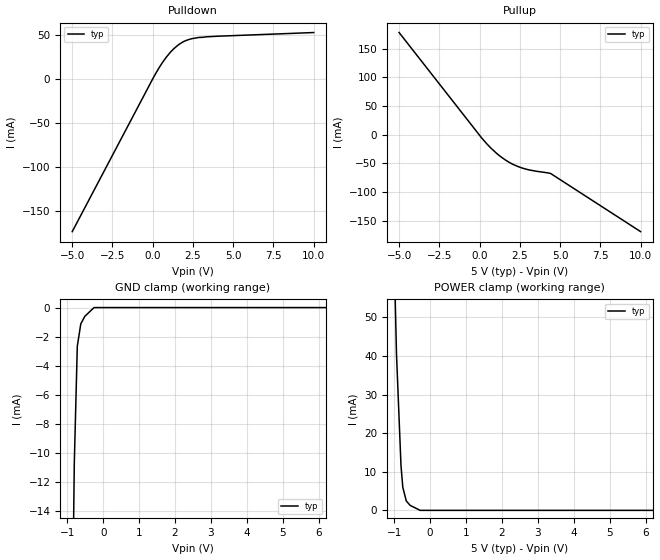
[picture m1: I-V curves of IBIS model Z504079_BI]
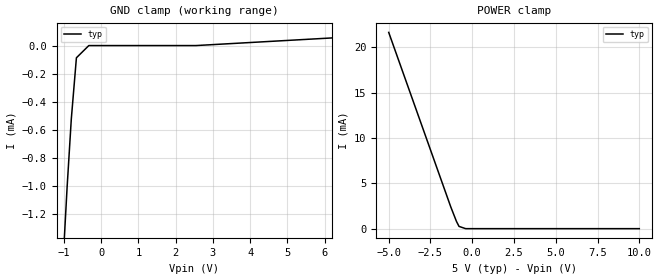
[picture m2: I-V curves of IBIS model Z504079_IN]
| YOU ARE ONLY AUTHORIZED TO USE THIS SOFTWARE
| ACCORDING TO LICENSOR'S LICENSE RESTRICTIONS.
[IBIS Ver] 3.1
[File Name] mc54hc242j.ibs
[File Rev] 2.0
[Source] Measured and created by ICX Technology
[Date] Friday 7/14/00 9:08:06 AM
[Copyright]
| (C) COPYRIGHT 1993-2000
| MENTOR GRAPHICS CORPORATION
| ICX STANDARD LIBRARY, ICX PROJECT MODELING,
| ICX CUSTOM MODELING, ICX VENDOR MODEL
| ALL RIGHTS RESERVED.
| THE FOLLOWING ARE TRADEMARKS OR SERVICE MARKS OF
| MENTOR GRAPHICS CORPORATION:ICX (R), ICX STANDARD
| LIBRARY(R), ICX PROJECT MODELING(R), ICX CUSTOM
| MODELING(R), qualityIBIS(TM), MODELVIEWER(TM),
| AND MODELEDITOR(TM)
| ALL COPIES OF SOFTWARE, INCLUDING BUT NOT LIMITED TO
| ANY MODIFICATIONS, ENHANCEMENTS OR DERIVATIVE WORKS,
| MUST CONTAIN ALL MENTOR GRAPHICS CORPORATION'S
| NOTICES AND LEGENDS, INCLUDING THOSE EMBEDDED IN
| SOFTWARE AND THOSE AFFIXED TO SOFTWARE MEDIUM
| AND CONTAINER, AS RECEIVED FROM MENTOR GRAPHICS
| CORPORATION.
|  ZAP Model Builder 2.7
[Component] MC54HC242J
[Manufacturer] OnSemiconductor
[Package]
| variable   typ   min   max
R_pkg  .21ohms NA NA
L_pkg  4.543nH NA NA
C_pkg  1.8pF NA NA
[Pin] signal_name  model_name  R_pin  L_pin C_pin
1 _GAB Z504079_IN .22 6.757n 2.434p
2 NC NC .212 4.757n 1.941p
3 A0 Z504079_BI .204 3.257n 1.448p
4 A1 Z504079_BI .196 2.257n .955p
5 A2 Z504079_BI .204 3.257n 1.448p
6 A3 Z504079_BI .212 4.757n 1.941p
7 GND GND .22 6.757n 2.434p
8 B3 Z504079_BI .22 6.757n 2.434p
9 B2 Z504079_BI .212 4.757n 1.941p
10 B1 Z504079_BI .204 3.257n 1.448p
11 B0 Z504079_BI .196 2.257n .955p
12 NC NC .204 3.257n 1.448p
13 GBA Z504079_IN .212 4.757n 1.941p
14 VCC POWER .22 6.757n 2.434p
| Models and submodels in the file (2): Z504079_BI (I/O), Z504079_IN (Input)
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| (C) COPYRIGHT 1993-2000
| MENTOR GRAPHICS CORPORATION
| ICX STANDARD LIBRARY, ICX PROJECT MODELING,
| ICX CUSTOM MODELING, ICX VENDOR MODEL
| ALL RIGHTS RESERVED.
| THE FOLLOWING ARE TRADEMARKS OR SERVICE MARKS OF
| MENTOR GRAPHICS CORPORATION:ICX (R), ICX STANDARD
| LIBRARY(R), ICX PROJECT MODELING(R), ICX CUSTOM
| MODELING(R), qualityIBIS(TM), MODELVIEWER(TM),
| AND MODELEDITOR(TM)
| ALL COPIES OF SOFTWARE, INCLUDING BUT NOT LIMITED TO
| ANY MODIFICATIONS, ENHANCEMENTS OR DERIVATIVE WORKS,
| MUST CONTAIN ALL MENTOR GRAPHICS CORPORATION'S
| NOTICES AND LEGENDS, INCLUDING THOSE EMBEDDED IN
| SOFTWARE AND THOSE AFFIXED TO SOFTWARE MEDIUM
| AND CONTAINER, AS RECEIVED FROM MENTOR GRAPHICS
| CORPORATION.
| Model Application Version 1.89 2/18/99.
[Model] Z504079_BI
Model_type I/O
Vinl=1.000V
Vinh=3.500V
Vref=0.000V
Rref=500.0Mohms
Cref=50.00pF
Vmeas=2.500V
C_comp 8.000pF NA NA
| variable typ   min   max
[Voltage Range] 5.000V NA NA
[POWER Clamp Reference] 5.000V NA NA
[Pullup Reference] 5.000V NA NA
[Pulldown Reference] 0.000V NA NA
[GND Clamp Reference] 0.000V NA NA
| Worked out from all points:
|   slope of the pulldown table from 0 to 0.75 V, typ, clamps not added: 33.7 ohm
|   slope of the pullup table from 0 to 0.75 V, typ, clamps not added: 31.9 ohm
|   GND clamp passes 1 mA (typ) near -0.60 V on its own axis
[GND Clamp]
-5V       -1.244A    NA         NA
-1.123V   -77.38mA   NA         NA
-806.3mV  -10.71mA   NA         NA
-722.3mV  -2.654mA   NA         NA
-624.8mV  -1.113mA   NA         NA
-512.6mV  -601.6uA   NA         NA
-256.3mV  0A         NA         NA
10V       0A         NA         NA
[Pulldown]
-5V       -173.2mA   NA         NA
64.09mV   2.318mA    NA         NA
376mV     12.15mA    NA         NA
839.8mV   24.64mA    NA         NA
1.111V    30.62mA    NA         NA
1.602V    38.82mA    NA         NA
2.056V    43.51mA    NA         NA
2.852V    47.08mA    NA         NA
10V       52.66mA    NA         NA
[Pullup]
-5V       178.3mA    NA         NA
119mV     -5.138mA   NA         NA
698mV     -23.04mA   NA         NA
1.064V    -32.53mA   NA         NA
1.612V    -44.1mA    NA         NA
2.419V    -55.7mA    NA         NA
3.173V    -61.79mA   NA         NA
4.404V    -67.29mA   NA         NA
10V       -168.8mA   NA         NA
[POWER Clamp]
-5V       2.12A      NA         NA
-1.073V   94.42mA    NA         NA
-936mV    40.44mA    NA         NA
-811mV    11.59mA    NA         NA
-761mV    6.03mA     NA         NA
-665mV    2.45mA     NA         NA
-555mV    1.283mA    NA         NA
-277.5mV  0A         NA         NA
10V       0A         NA         NA
[Ramp]
| variable typ min max
dV/dt_r 2.849/1.777n NA NA
dV/dt_f 2.849/1.523n NA NA
R_load = 500.0Ohms
| (C) COPYRIGHT 1993-2000
| MENTOR GRAPHICS CORPORATION
| ICX STANDARD LIBRARY, ICX PROJECT MODELING,
| ICX CUSTOM MODELING, ICX VENDOR MODEL
| ALL RIGHTS RESERVED.
| THE FOLLOWING ARE TRADEMARKS OR SERVICE MARKS OF
| MENTOR GRAPHICS CORPORATION:ICX (R), ICX STANDARD
| LIBRARY(R), ICX PROJECT MODELING(R), ICX CUSTOM
| MODELING(R), qualityIBIS(TM), MODELVIEWER(TM),
| AND MODELEDITOR(TM)
| ALL COPIES OF SOFTWARE, INCLUDING BUT NOT LIMITED TO
| ANY MODIFICATIONS, ENHANCEMENTS OR DERIVATIVE WORKS,
| MUST CONTAIN ALL MENTOR GRAPHICS CORPORATION'S
| NOTICES AND LEGENDS, INCLUDING THOSE EMBEDDED IN
| SOFTWARE AND THOSE AFFIXED TO SOFTWARE MEDIUM
| AND CONTAINER, AS RECEIVED FROM MENTOR GRAPHICS
| CORPORATION.
| Model Application Version 1.89 2/18/99.
[Model] Z504079_IN
Model_type Input
Vinl = 1.000V
Vinh = 3.500V
C_comp 4.000pF NA NA
| variable typ   min   max
[Voltage Range] 5.000V NA NA
[GND Clamp Reference] 0.000V NA NA
[POWER Clamp Reference] 5.000V NA NA
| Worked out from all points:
|   GND clamp passes 1 mA (typ) near -0.91 V on its own axis
[GND Clamp]
-5V       -21.07mA   NA         NA
-917.7mV  -1.017mA   NA         NA
-803.6mV  -522.7uA   NA         NA
-666mV    -83.83uA   NA         NA
-333mV    3.449uA    NA         NA
2.541V    3.449uA    NA         NA
10V       114.8uA    NA         NA
[POWER Clamp]
-5V       21.64mA    NA         NA
-1.287V   2.408mA    NA         NA
-942mV    788.1uA    NA         NA
-791mV    248.8uA    NA         NA
-395.5mV  0A         NA         NA
10V       0A         NA         NA
